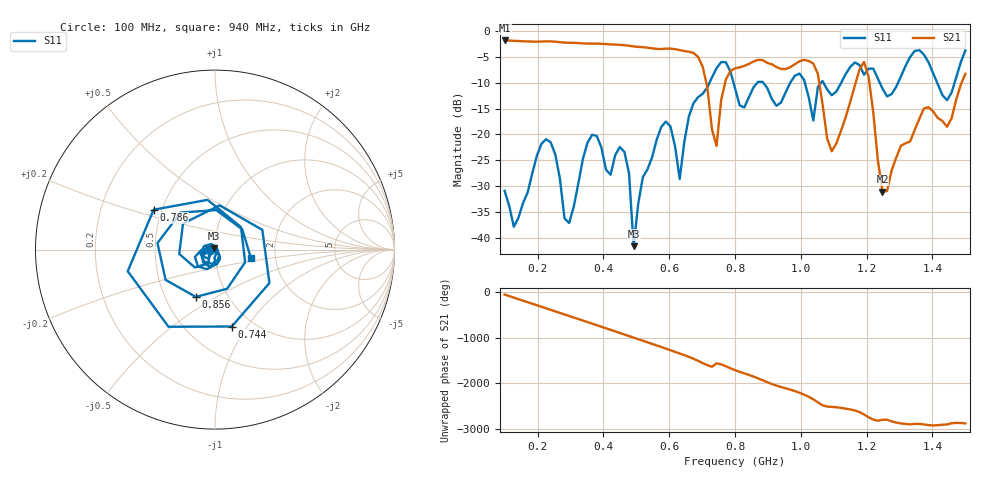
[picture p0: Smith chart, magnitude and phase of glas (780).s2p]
! NanoVNA-App
! Date: 2025-09-25 16:01:33
! Start: 100MHz Stop: 1,5GHz Points: 101
! S-Parameter data: F S11 S21 S12 S22
# Hz S RI R 50
!  Frequency  S11_Real  S11_Imag  S21_Real  S21_Imag  S12_Real  S12_Imag  S22_Real  S22_Imag
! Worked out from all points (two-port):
!   101 points, 100 MHz to 1.5 GHz, reference 50 ohm
!   highest |S21| = -1.80 dB at 100 MHz (marker M1); lowest = -31.1 dB at 1.248 GHz (marker M2)
!   |S21| within 3 dB of the highest: start of sweep to 684.4 MHz
!   lowest |S11| = -41.6 dB at 492 MHz (marker M3), VSWR 1.02, Z = 49.5 + j0.642 ohm
!   |S11| at or under -10 dB: start of sweep to 722.5 MHz; 795.5 MHz to 867.7 MHz (72.22 MHz wide, 8.68 % of centre); 886.1 MHz to 967.8 MHz (81.72 MHz wide, 8.82 % of centre) (the widest 3 of 7)
!   S12 and S22 are empty: the file has one direction only
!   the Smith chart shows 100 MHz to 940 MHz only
!   S11 on the Smith chart (normalised r, x): 100 MHz: 0.94, -0.01; 744 MHz: 0.80, -0.85; 786 MHz: 0.45, +0.24; 856 MHz: 0.71, -0.41; 940 MHz: 1.49, -0.14
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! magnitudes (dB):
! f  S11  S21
! 100 MHz  -30.9  -1.8
! 128 MHz  -37.9  -1.9
! 226 MHz  -20.9  -2.0
! 296 MHz  -37.2  -2.2
! 338 MHz  -24.7  -2.4
! 464 MHz  -23.4  -2.7
! 492 MHz  -41.6  -3.0
! 576 MHz  -18.5  -3.5
! 632 MHz  -28.6  -3.7
! 702 MHz  -12.1  -6.9
! 744 MHz  -7.2  -22.2
! 786 MHz  -7.8  -7.7
! 800 MHz  -11.1  -7.2
! 856 MHz  -10.9  -5.9
! 940 MHz  -13.8  -7.3
! 996 MHz  -8.2  -5.8
! 1.038 GHz  -17.3  -6.3
! 1.094 GHz  -12.4  -23.3
! 1.192 GHz  -8.4  -6.0
! 1.248 GHz  -11.1  -31.1
! 1.276 GHz  -12.2  -27.0
! 1.5 GHz  -3.7  -8.3
